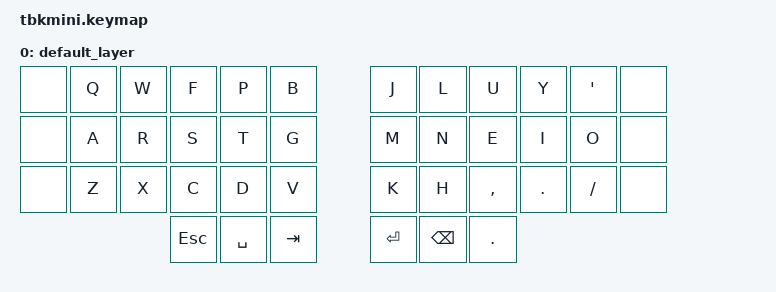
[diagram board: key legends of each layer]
// Note, to use with Miryoku, this file needs to be deleted to not override Miryoku's keymap
#include <dt-bindings/zmk/keys.h>

/ {
    keymap {
        compatible = "zmk,keymap";
        default_layer {
            bindings = <
                &none  &kp Q      &kp W      &kp F       &kp P         &kp B       /* split */  &kp J       &kp L        &kp U       &kp Y      &kp SQT    &none
                &none  &kp A      &kp R      &kp S       &kp T         &kp G       /* split */  &kp M       &kp N        &kp E       &kp I      &kp O      &none
                &none  &kp Z      &kp X      &kp C       &kp D         &kp V       /* split */  &kp K       &kp H        &kp COMMA   &kp DOT    &kp FSLH   &none
                                             &kp ESC     &kp SPACE     &kp TAB     /* split */  &kp RET     &kp BSPC     &kp DOT
            >;
        };
    };
};
